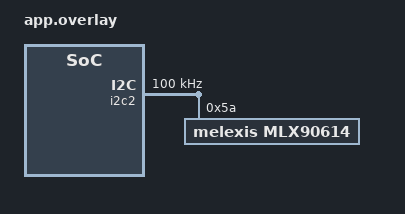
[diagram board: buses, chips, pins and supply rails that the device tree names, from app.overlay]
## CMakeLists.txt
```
# SPDX-License-Identifier: Apache-2.0

cmake_minimum_required(VERSION 3.20.0)
find_package(Zephyr REQUIRED HINTS $ENV{ZEPHYR_BASE})
project(mlx90614)

target_sources(app PRIVATE src/main.c)
```

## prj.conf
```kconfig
CONFIG_LOG=y

CONFIG_GPIO=y

CONFIG_I2C=y
CONFIG_SENSOR=y
```

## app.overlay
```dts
/*          
 * Copyright (c) 2025 Christian Hirsch
 * SPDX-License-Identifier: Apache-2.0
 */

&i2c2 {
    status = "okay";

    clock-frequency = <I2C_BITRATE_STANDARD>;

    mlx90614: mlx90614@5a {
        compatible = "melexis,mlx90614";
        reg = <0x5a>;
        status = "okay";
    };
};
```

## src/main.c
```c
/*
 * Copyright (c) 2016 Intel Corporation
 *
 * SPDX-License-Identifier: Apache-2.0
 */

#include <stdio.h>
#include <zephyr/kernel.h>
#include <zephyr/drivers/gpio.h>

/* 1000 msec = 1 sec */
#define SLEEP_TIME_MS   1000

/* The devicetree node identifier for the "led0" alias. */
#define LED0_NODE DT_ALIAS(led0)

/*
 * A build error on this line means your board is unsupported.
 * See the sample documentation for information on how to fix this.
 */
static const struct gpio_dt_spec led = GPIO_DT_SPEC_GET(LED0_NODE, gpios);

static const struct device *const mlx90614 = DEVICE_DT_GET_ANY(melexis_mlx90614);

#if !DT_HAS_COMPAT_STATUS_OKAY(melexis_mlx90614)
#error "No melexis,mlx90614 compatible node found in the device tree"
#endif

int main(void)
{
	int ret;
	bool led_state = true;

	if(!device_is_ready(mlx90614)) {
		printf("MLX90614 device not ready.");
	};

	if (!gpio_is_ready_dt(&led)) {
		return 0;
	}

	ret = gpio_pin_configure_dt(&led, GPIO_OUTPUT_ACTIVE);
	if (ret < 0) {
		return 0;
	}

	while (1) {
		ret = gpio_pin_toggle_dt(&led);
		if (ret < 0) {
			return 0;
		}

		led_state = !led_state;
		printf("LED state: %s\n", led_state ? "ON" : "OFF");
		k_msleep(SLEEP_TIME_MS);
	}
	return 0;
}
```
